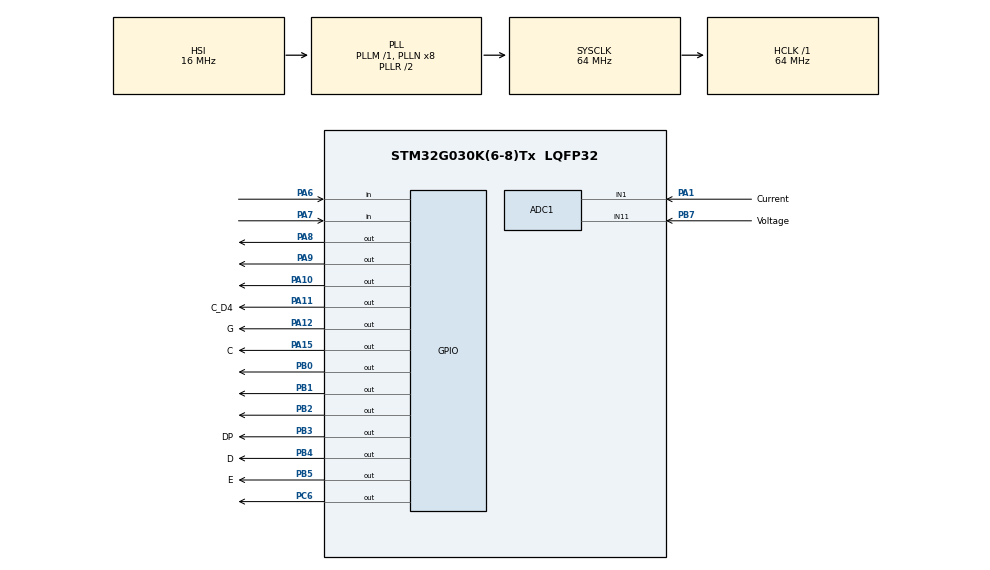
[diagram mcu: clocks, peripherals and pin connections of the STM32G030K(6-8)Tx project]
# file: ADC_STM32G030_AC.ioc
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ADC1.Channel-0\#ChannelRegularConversion=ADC_CHANNEL_11
ADC1.Channel-4\#ChannelRegularConversion=ADC_CHANNEL_1
ADC1.Channel-5\#ChannelRegularConversion=ADC_CHANNEL_VREFINT
ADC1.ClockPrescaler=ADC_CLOCK_ASYNC_DIV1
ADC1.ContinuousConvMode=DISABLE
ADC1.DMAContinuousRequests=ENABLE
ADC1.DiscontinuousConvMode=DISABLE
ADC1.EOCSelection=ADC_EOC_SINGLE_CONV
ADC1.EnableAnalogWatchDog1=false
ADC1.EnableAnalogWatchDog2=false
ADC1.EnableAnalogWatchDog3=false
ADC1.ExternalTrigConv=ADC_EXTERNALTRIG_T1_TRGO2
ADC1.NbrOfConversion=3
ADC1.NbrOfConversionFlag=1
ADC1.Overrun=ADC_OVR_DATA_OVERWRITTEN
ADC1.OversamplingMode=DISABLE
ADC1.Rank-0\#ChannelRegularConversion=1
ADC1.Rank-4\#ChannelRegularConversion=2
ADC1.Rank-5\#ChannelRegularConversion=3
ADC1.SamplingTime-0\#ChannelRegularConversion=ADC_SAMPLINGTIME_COMMON_1
ADC1.SamplingTime-4\#ChannelRegularConversion=ADC_SAMPLINGTIME_COMMON_1
ADC1.SamplingTime-5\#ChannelRegularConversion=ADC_SAMPLINGTIME_COMMON_1
ADC1.SamplingTimeCommon1=ADC_SAMPLETIME_160CYCLES_5
ADC1.SamplingTimeCommon2=ADC_SAMPLETIME_160CYCLES_5
ADC1.SelectedChannel=ADC_CHANNEL_1|ADC_CHANNEL_VREFINT|ADC_CHANNEL_11
ADC1.master=1
Dma.ADC1.0.Direction=DMA_PERIPH_TO_MEMORY
Dma.ADC1.0.EventEnable=DISABLE
Dma.ADC1.0.Instance=DMA1_Channel1
Dma.ADC1.0.MemDataAlignment=DMA_MDATAALIGN_HALFWORD
Dma.ADC1.0.MemInc=DMA_MINC_ENABLE
Dma.ADC1.0.Mode=DMA_CIRCULAR
Dma.ADC1.0.PeriphDataAlignment=DMA_PDATAALIGN_HALFWORD
Dma.ADC1.0.PeriphInc=DMA_PINC_DISABLE
Dma.ADC1.0.Polarity=HAL_DMAMUX_REQ_GEN_RISING
Dma.ADC1.0.Priority=DMA_PRIORITY_VERY_HIGH
Dma.ADC1.0.RequestNumber=1
Dma.ADC1.0.SignalID=NONE
Dma.ADC1.0.SyncEnable=DISABLE
Dma.ADC1.0.SyncPolarity=HAL_DMAMUX_SYNC_NO_EVENT
Dma.ADC1.0.SyncRequestNumber=1
Dma.ADC1.0.SyncSignalID=NONE
Dma.Request0=ADC1
Mcu.Family=STM32G0
Mcu.Name=STM32G030K(6-8)Tx
Mcu.Package=LQFP32
NVIC.DMA1_Channel1_IRQn=true\:2\:0\:true\:false\:true\:false\:true\:true
NVIC.TIM14_IRQn=true\:3\:0\:false\:false\:true\:false\:true\:true
NVIC.TIM3_IRQn=true\:0\:0\:true\:false\:true\:true\:true\:true
NVIC.TimeBase=TIM14_IRQn
NVIC.TimeBaseIP=TIM14
PA1.GPIO_Label=Current
PA1.Mode=IN1
PA1.Signal=ADC1_IN1
PA10.Signal=GPIO_Output
PA11\ [PA9].GPIO_Label=C_D4
PA11\ [PA9].Signal=GPIO_Output
PA12\ [PA10].GPIO_Label=G
PA12\ [PA10].Signal=GPIO_Output
PA13.Mode=Serial_Wire
PA13.Signal=SYS_SWDIO
PA14-BOOT0.Mode=Serial_Wire
PA14-BOOT0.Signal=SYS_SWCLK
PA15.GPIO_Label=C
PA15.Signal=GPIO_Output
PA6.Signal=GPIO_Input
PA7.Signal=GPIO_Input
PA8.Signal=GPIO_Output
PA9.Signal=GPIO_Output
PB0.Signal=GPIO_Output
PB1.Signal=GPIO_Output
PB2.Signal=GPIO_Output
PB3.GPIO_Label=DP
PB3.Signal=GPIO_Output
PB4.GPIO_Label=D
PB4.Signal=GPIO_Output
PB5.GPIO_Label=E
PB5.Signal=GPIO_Output
PB7.GPIO_Label=Voltage
PB7.Mode=IN11
PB7.Signal=ADC1_IN11
PC6.Signal=GPIO_Output
ProjectManager.HeapSize=0x200
ProjectManager.StackSize=0x400
ProjectManager.TargetToolchain=STM32CubeIDE
RCC.ADCCLockSelection=RCC_ADCCLKSOURCE_PLLADC
RCC.ADCFreq_Value=32000000
RCC.AHBFreq_Value=64000000
RCC.APB1CLKDivider=RCC_HCLK_DIV4
RCC.CortexFreq_Value=64000000
RCC.EXTERNAL_CLOCK_VALUE=12288000
RCC.HCLKFreq_Value=64000000
RCC.HSE_VALUE=8000000
RCC.HSI_VALUE=16000000
RCC.LSE_VALUE=32768
RCC.PLLP=RCC_PLLP_DIV4
RCC.SYSCLKFreq_VALUE=64000000
RCC.SYSCLKSource=RCC_SYSCLKSOURCE_PLLCLK
RCC.VCOOutputFreq_Value=128000000
TIM1.Channel-PWM\ Generation1\ No\ Output=TIM_CHANNEL_1
TIM1.Period=1600
TIM1.Prescaler=0
TIM1.TIM_MasterOutputTrigger2=TIM_TRGO2_UPDATE
TIM3.Channel-Output\ Compare1\ No\ Output=TIM_CHANNEL_1
TIM3.Period=32768
TIM3.Prescaler=1
VP_ADC1_Vref_Input.Mode=IN-Vrefint
VP_SYS_VS_tim14.Mode=TIM14
VP_TIM1_VS_ClockSourceINT.Mode=Internal
VP_TIM1_VS_no_output1.Mode=PWM Generation1 No Output
VP_TIM3_VS_ClockSourceINT.Mode=Internal
VP_TIM3_VS_no_output1.Mode=Output Compare1 No Output
board=custom

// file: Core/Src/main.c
/* USER CODE BEGIN Header */
/**
 ******************************************************************************
 * @file           : main.c
 * @brief          : Main program body
 ******************************************************************************
 * @attention
 *
 * Copyright (c) 2025 STMicroelectronics.
 * All rights reserved.
 *
 * This software is licensed under terms that can be found in the LICENSE file
 * in the root directory of this software component.
 * If no LICENSE file comes with this software, it is provided AS-IS.
 *
 ******************************************************************************
 */
/* USER CODE END Header */
#include "main.h"

/* USER CODE BEGIN Includes */
#include "stdio.h"
#include "math.h"
#include "string.h"
#include "stdbool.h"

/* USER CODE END Includes */

ADC_HandleTypeDef hadc1;
DMA_HandleTypeDef hdma_adc1;

TIM_HandleTypeDef htim1;
TIM_HandleTypeDef htim3;

/* USER CODE BEGIN PV */

uint16_t digits[9];

#define ADC_HISTORY_LEN 512

#define BUTTON2_Pin GPIO_PIN_6
#define BUTTON2_GPIO_Port GPIOA

#define BUTTON1_Pin GPIO_PIN_7
#define BUTTON1_GPIO_Port GPIOA

#define SAMPLES_PER_CYCLE        512U
#define ADC_NUM_CHANNELS         3U
#define ADC_DMA_COUNT            (SAMPLES_PER_CYCLE * ADC_NUM_CHANNELS)   // 1024 halfwords

volatile uint8_t flag = 0;

static uint16_t adc_buffer[ADC_DMA_COUNT];
//static uint16_t adc_buffer[3];
volatile uint8_t buffer_ready = 0;

uint16_t adc_vrefint = 0;   // latest ADC result for VREFINT
uint16_t vdda_mV = 0;       // calculated VDDA (mV)

float voltage = 0.0f;
float current = 0.0f;

uint16_t v_buf[ADC_HISTORY_LEN];  // stores last 512 samples
uint16_t i_buf[ADC_HISTORY_LEN];
uint16_t buf_index = 0;                 // buffer index

float frequency = 0;
float Vrms_total = 0.0;
float Vrms_AC = 0.0f;
float Irms_total = 0.0;
float Irms_AC = 0.0f;
float Vavg = 0.0;
float Iavg = 0.0;

float rms_AC = 0.0f;
float rms_filtered = 0.0f;

uint32_t buttonPressStartTime = 0;
uint8_t waitingFor2Sec = 0;
uint8_t inPasswordMode = 0;

uint8_t correctPassword[4] = { 1, 0, 0, 0 };
uint8_t passwordEntered[4] = { 0 };
uint8_t settingDigits[4] = { 0 };
uint8_t mode = 0;
uint8_t entryComplete = 0;
uint8_t passwordMatched = 0;
uint32_t lastPress = 0, blinkTimer = 0;
uint8_t blinkState = 0;
uint8_t modeEntryActive = 0;

uint8_t programming = 0;

uint8_t readOnlyMode = 0;

uint8_t editMode = 0;                 // Are we editing digits?

uint8_t currentDigitIndex = 0;

uint8_t passwordDigits[4] = { 0, 0, 0, 0 };

// Menu states
uint8_t connState = 0; // 0: show "Conn", 1: show current type, 2: edit type (blink)
uint8_t connType = 0;    // 0: delt, 1: iph, 2: star

// Save state
uint8_t saveEdit = 0;   // 0: just showing SAVE, 1: in Y/N selection
uint8_t saveChoice = 0;   // 0: Y, 1: N

GPIO_PinState b1, b2;

uint8_t dp_index;

//static uint16_t adc_buffer[ADC_DMA_COUNT];

/* Debug (watch in Live Expressions if desired) */
volatile int dbg_nv = -1, dbg_ni = -1;
volatile float dbg_dt = 0.0f, dbg_phi = 0.0f;

static float Power_Factor = 0.0;

static float Vrms_filtered = 0;
static float Irms_filtered = 0;

float ct_pr_value = 1.0f;
float ct_se_value = 1.0f;

uint8_t ct_pr_digits[4] = { 1, 0, 0, 0 };  // 1.000
uint8_t ct_se_digits[4] = { 1, 0, 0, 0 };  // 1.000
uint8_t ct_pr_decimal_pos = 0;
uint8_t ct_se_decimal_pos = 0;

uint8_t ct_pr_editing_digit = 0;  // Which digit is being edited (0-3)
uint8_t ct_se_editing_digit = 0;  // Which digit is being edited (0-3);

uint8_t ct_pr_state = 0;

uint32_t ct_pr_blinkTimer = 0;
uint8_t ct_pr_blinkState = 0;

uint8_t ct_se_state = 0;
uint32_t ct_se_blinkTimer = 0;
uint8_t ct_se_blinkState = 0;

float PF_Phase_deg = 0.0f;                // optional displacement angle from PF

GPIO_PinState b1, b2;

HAL_StatusTypeDef status;

/* USER CODE END PV */

void SystemClock_Config(void);
static void MX_GPIO_Init(void);
static void MX_DMA_Init(void);
static void MX_ADC1_Init(void);
static void MX_TIM3_Init(void);
static void MX_TIM1_Init(void);
/* USER CODE BEGIN PFP */
static void process_block(uint16_t *blk, size_t count_halfwords);

/* USER CODE END PFP */

/* USER CODE BEGIN 0 */

// Called when the first half of the DMA buffer is filled
void HAL_ADC_ConvHalfCpltCallback(ADC_HandleTypeDef *hadc) {

}

// Called when the entire DMA buffer is filled
void HAL_ADC_ConvCpltCallback(ADC_HandleTypeDef *hadc) {
	process_block(&adc_buffer, ADC_DMA_COUNT);
	buffer_ready = 1;

}

//static void process_block(uint16_t *blk, size_t count_halfwords) {
//
//	adc_vrefint = AD_RES_BUFFER[2]; //fixed bandgap reference inside the chip
//
//	uint16_t vrefint_cal = *VREFINT_CAL_ADDR;
//
//	vdda_mV = (uint32_t) VREFINT_CAL_VREF * vrefint_cal / adc_vrefint;
//
//	for (size_t k = 0; k < count_halfwords; k += 3U) {
//		v_buf[buf_index] = (blk[k + 0] * vdda_mV) / 4095;
//		//i_buf[buf_index] = (blk[k + 1] * vdda_mV) / 4095;
//
//		buf_index++;
//		if (buf_index >= ADC_HISTORY_LEN) {
//			buf_index = 0;
//
//		}
//	}
//}

static void process_block(uint16_t *blk, size_t count_halfwords) {
	uint32_t vref_acc = 0;
	uint16_t vref_samples = 0;

	// stride of 3: [V, I, VREFINT]
	for (size_t k = 0; k < count_halfwords; k += 3U) {

		uint16_t raw_v = blk[k + 0];
		uint16_t raw_i = blk[k + 1];
		uint16_t raw_vref = blk[k + 2];

		// accumulate VREFINT samples for this block
		vref_acc += raw_vref;
		vref_samples++;

		// use *previous* vdda_mV to scale V and I into mV for RMS math
		v_buf[buf_index] = (raw_v * vdda_mV) / 4095U;
		i_buf[buf_index] = (raw_i * vdda_mV) / 4095U;

		buf_index++;
		if (buf_index >= ADC_HISTORY_LEN) {
			buf_index = 0;
		}
	}

	// update VDDA estimate from average VREFINT of this block
	if (vref_samples > 0) {
		uint16_t vref_raw = (uint16_t) (vref_acc / vref_samples);
		uint16_t vref_cal = *VREFINT_CAL_ADDR;

		// VDDA = VREFINT_CAL_VREF * VREFINT_CAL / vref_raw
		vdda_mV = (uint32_t) VREFINT_CAL_VREF * (uint32_t) vref_cal
				/ (uint32_t) vref_raw;
	}

	// signal to main() that a fresh block is ready for RMS

}

static float CT_Pr_DigitsToValue(void) {
	uint16_t raw = (uint16_t) (ct_pr_digits[0] * 1000U + ct_pr_digits[1] * 100U
			+ ct_pr_digits[2] * 10U + ct_pr_digits[3]);

	// decimal after digit index i => divide by 10^(3 - i)
	uint8_t i = ct_pr_decimal_pos;
	if (i > 3)
		i = 3;

	uint8_t pow10 = 3 - i;
	float scale = 1.0f;
	while (pow10--) {
		scale *= 10.0f;
	}

	return (float) raw / scale;
}

static float CT_Se_DigitsToValue(void) {
	uint16_t raw = (uint16_t) (ct_se_digits[0] * 1000U + ct_se_digits[1] * 100U
			+ ct_se_digits[2] * 10U + ct_se_digits[3]);

	// decimal after digit index i => divide by 10^(3 - i)
	uint8_t i = ct_se_decimal_pos;
	if (i > 3)
		i = 3;

	uint8_t pow10 = 3 - i;
	float scale = 1.0f;
	while (pow10--) {
		scale *= 10.0f;
	}

	return (float) raw / scale;
}

float digits_to_float(const uint8_t *digits, uint8_t len, uint8_t decimal_pos) {
	uint32_t integer = 0;

	// 1) Build the integer value from the digit array
	for (uint8_t i = 0; i < len; i++) {
		integer = integer * 10u + (uint32_t) digits[i];
	}

	// 2) How many digits are after the decimal?
	if (decimal_pos >= len) {
		// Invalid position, treat as no decimal
		return (float) integer;
	}

	uint8_t frac_digits = (uint8_t) (len - decimal_pos - 1);

	// 3) Scale down by 10^(frac_digits)
	float value = (float) integer;
	while (frac_digits--) {
		value /= 10.0f;
	}

	return value;
}

//void Calculate_Vrms() {
//
//	float sum = 0.0f;
//	float sum_sq = 0.0f;
//
//	const float alpha_v = 0.1f;  // slower, steadier EMA
//	float threshold_v = 0.5f;
//
//	// Step 1: Compute mean (DC offset) in volts
//	for (int i = 0; i < ADC_HISTORY_LEN; i++) {
//
//		sum += v_buf[i];
//	}
//
//	Vavg = sum / ADC_HISTORY_LEN;     // DC offset (avg)
//
//	for (int i = 0; i < ADC_HISTORY_LEN; i++) {
//
//		sum_sq += (v_buf[i] - Vavg) * (v_buf[i] - Vavg); // accumulate squared values
//	}
//
//	float mean_sq = sum_sq / ADC_HISTORY_LEN; // <v^2>
//
//	// Step 2: Compute RMS values
//
//	Vrms_total = sqrtf(mean_sq);
//
//	const float K_VRMS = 0.2512f;
//	Vrms_total *= K_VRMS;
//
////		Vrms_total = Vrms_total * 1.03;
//
//	if (fabsf(Vrms_total - Vrms_AC) >= threshold_v) {
//		Vrms_AC = Vrms_total;
//	}
//
//	Vrms_filtered = (alpha_v * Vrms_AC) + ((1.0f - alpha_v) * Vrms_filtered);
//
//	static float ema_voltage = 0.0f;
//	const float EMA_ALPHA = 0.05f; // (0.01 = very stable, 0.2 = faster response) faster settling without looking jumpy
//
//	ema_voltage = ema_voltage + EMA_ALPHA * (Vrms_filtered - ema_voltage);
//
//	/* --- Stable display logic with hysteresis --- */
//	static float last_display_voltage = 0.0f;
//	const float DISPLAY_THRESHOLD = 0.1f;  // tighter update band (50 mV)
//	float display_voltage = 0;
//
//	int val_int;
//
//	if (fabsf(ema_voltage - last_display_voltage) >= DISPLAY_THRESHOLD) {
//		last_display_voltage = ema_voltage;
//	}
//
//	display_voltage = last_display_voltage;
//
//	// After computing display_voltage
//	if (fabsf(display_voltage) <= 0.3f)   // anything below 50 mV = 0.00
//		display_voltage = 0.0f;
//
//	/* ---------- clamp display_voltage (unchanged behavior) ---------- */
//	if (display_voltage > 200.0f)
//		display_voltage = 200.0f;
//	if (display_voltage < 0.0f)
//		display_voltage = 0.0f;
//
//	/* ---------- Clear digits & DPs ---------- */
//	for (int i = 0; i < 4; i++) {
//		digits[i] = 0;
//		digits[8 + i] = 0;
//	}
//
//	/* ---------- Extract digits + Set DP ---------- */
//	/* NOTE: Using display_voltage (ring-averaged) for all formatting */
//	if (display_voltage < 10.0f) {
//		// Format: X.XX (1 integer + 2 decimals). Keep last digit as the 3rd decimal if you want.
//		val_int = (int) (display_voltage * 100 + 0.5f); // e.g. 2.34 -> 234 (hundreds=tens etc.)
//
//		digits[0] = (val_int / 100) % 10;  // integer part
//		digits[1] = (val_int / 10) % 10;   // first decimal
//		digits[2] = val_int % 10;          // second decimal
//		digits[3] = 0;              // optional: fill with fake digit if desired
//
//		digits[4] = 1;  // DP after first digit (X.XX)
//		digits[5] = 0;
//		digits[6] = 0;
//	} else if (display_voltage < 100.0f) {
//		// Format: XX.XX (tens, ones, two decimals)
//		val_int = (int) (display_voltage * 100 + 0.5f);  // e.g. 23.45 -> 2345
//
//		digits[0] = (val_int / 1000) % 10; // tens
//		digits[1] = (val_int / 100) % 10;  // ones
//		digits[2] = (val_int / 10) % 10;   // first decimal
//		digits[3] = val_int % 10;         // second decimal
//
//		digits[5] = 1;  // DP after second digit (XX.XX)
//		digits[4] = 0;
//		digits[6] = 0;
//	} else {
//		// Format: XXX.X  (since you only have 4 digits, reduce decimals for 3-digit numbers)
//		val_int = (int) (display_voltage * 10 + 0.5f);  // e.g. 123.4 -> 1234
//
//		digits[0] = (val_int / 1000) % 10; // hundreds
//		digits[1] = (val_int / 100) % 10;  // tens
//		digits[2] = (val_int / 10) % 10;   // ones
//		digits[3] = val_int % 10;         // first decimal
//
//		digits[6] = 1;  // DP after third digit (XXX.X)
//		digits[4] = 0;
//		digits[5] = 0;
//	}
//
//}

//void Calculate_Irms() {
//
//	float sum = 0.0f;
//	float sum_sq = 0.0f;
//	const float alpha_i = 0.1f;  // slower, steadier EMA
//	float threshold_i = 0.5f;
//
//	// Step 1: Compute mean (DC offset) in volts
//	for (int i = 0; i < ADC_HISTORY_LEN; i++) {
//
//		sum += i_buf[i];
//	}
//
//	Iavg = sum / ADC_HISTORY_LEN;     // DC offset (avg)
//
//	for (int i = 0; i < ADC_HISTORY_LEN; i++) {
//
//		sum_sq += (i_buf[i] - Iavg) * (i_buf[i] - Iavg); // accumulate squared values
//	}
//
//	float mean_sq = sum_sq / ADC_HISTORY_LEN; // <v^2>
//
//	// Step 2: Compute RMS values
//
//	Irms_total = sqrtf(mean_sq);
//
//	const float K_IRMS = 4.56f;   // or 4.6f as a nice round value
//	Irms_total *= K_IRMS;
//
//	if (fabsf(Irms_total - Irms_AC) >= threshold_i) {
//		Irms_AC = Irms_total;
//	}
//
//	Irms_filtered = (alpha_i * Irms_AC) + ((1.0f - alpha_i) * Irms_filtered);
//
//	static float ema_current = 0.0f;
//	const float EMA_ALPHA = 0.05f; // (0.01 = very stable, 0.2 = faster response) faster settling without looking jumpy
//
//	ema_current = ema_current + EMA_ALPHA * (Irms_filtered - ema_current);
//
//	/* --- Stable display logic with hysteresis --- */
//	static float last_display_current = 0.0f;
//	const float DISPLAY_THRESHOLD = 0.1f;  // tighter update band (50 mV)
//	float display_current = 0;
//
//	int val_int;
//
//	if (fabsf(ema_current - last_display_current) >= DISPLAY_THRESHOLD) {
//		last_display_current = ema_current;
//	}
//
//	display_current = last_display_current;
//
//
//	if (fabsf(display_current) <= 0.3f)   // anything below 50 mV = 0.00
//		display_current = 0.0f;
//
//	/* ---------- clamp display_voltage (unchanged behavior) ---------- */
//	if (display_current > 200.0f)
//		display_current = 200.0f;
//	if (display_current < 0.0f)
//		display_current = 0.0f;
//
//	/* ---------- Clear digits & DPs ---------- */
//	for (int i = 0; i < 9; i++) {
//		digits[i] = 0;
//
//	}
//
//	/* ---------- Extract digits + Set DP ---------- */
//	/* NOTE: Using display_voltage (ring-averaged) for all formatting */
//	if (display_current < 10.0f) {
//		// Format: X.XX (1 integer + 2 decimals). Keep last digit as the 3rd decimal if you want.
//		val_int = (int) (display_current * 100 + 0.5f); // e.g. 2.34 -> 234 (hundreds=tens etc.)
//
//		digits[0] = (val_int / 100) % 10;  // integer part
//		digits[1] = (val_int / 10) % 10;   // first decimal
//		digits[2] = val_int % 10;          // second decimal
//		digits[3] = 0;              // optional: fill with fake digit if desired
//
//		digits[4] = 1;  // DP after first digit (X.XX)
//		digits[5] = 0;
//		digits[6] = 0;
//	} else if (display_current < 100.0f) {
//		// Format: XX.XX (tens, ones, two decimals)
//		val_int = (int) (display_current * 100 + 0.5f);  // e.g. 23.45 -> 2345
//
//		digits[0] = (val_int / 1000) % 10; // tens
//		digits[1] = (val_int / 100) % 10;  // ones
//		digits[2] = (val_int / 10) % 10;   // first decimal
//		digits[3] = val_int % 10;         // second decimal
//
//		digits[5] = 1;  // DP after second digit (XX.XX)
//		digits[4] = 0;
//		digits[6] = 0;
//	} else {
//		// Format: XXX.X  (since you only have 4 digits, reduce decimals for 3-digit numbers)
//		val_int = (int) (display_current * 10 + 0.5f);  // e.g. 123.4 -> 1234
//
//		digits[0] = (val_int / 1000) % 10; // hundreds
//		digits[1] = (val_int / 100) % 10;  // tens
//		digits[2] = (val_int / 10) % 10;   // ones
//		digits[3] = val_int % 10;         // first decimal
//
//		digits[6] = 1;  // DP after third digit (XXX.X)
//		digits[4] = 0;
//		digits[5] = 0;
//	}
//
//}

static void Calculate_Rms_Generic(const uint16_t *buf, float k_rms) {

//	float ct_pr_value = digits_to_float(ct_pr_digits, 4, ct_pr_decimal_pos);
//	float ct_se_value = digits_to_float(ct_se_digits, 4, ct_se_decimal_pos);

	float ct_pr_value = 5.0f;
	float ct_se_value = 100.0f;

	float sum = 0.0f;
	float sum_sq = 0.0f;

	// 1) Average (DC component)
	for (uint16_t i = 0; i < ADC_HISTORY_LEN; i++) {
		sum += buf[i];
	}

	// Store average in global (Vavg or Iavg)
	float avg;
	if (buf == v_buf) {
		avg = Vavg = sum / ADC_HISTORY_LEN;
	} else {
		avg = Iavg = sum / ADC_HISTORY_LEN;
	}

	// 2) Variance
	for (uint16_t i = 0; i < ADC_HISTORY_LEN; i++) {  // Fixed: was 'len'
		float diff = (float) buf[i] - avg;
		sum_sq += diff * diff;
	}

 	float mean_sq = sum_sq / ADC_HISTORY_LEN;

	// 3) RMS before scaling
	float rms_total = sqrtf(mean_sq) * k_rms;  // Fixed: was rms_raw

	// 4) Hysteresis + EMA (using your existing globals)
	const float threshold = 0.05f;
	if (buf == v_buf) {
		if (fabsf(rms_total - Vrms_AC) >= threshold) { // Fixed: rms_AC -> Vrms_AC
			Vrms_AC = rms_total;
		}
		const float alpha_v = 0.1f;
		Vrms_filtered = alpha_v * Vrms_AC + (1.0f - alpha_v) * Vrms_filtered; // Fixed: rms_*
		//Vrms_total = rms_total;  // Fixed: rms_raw -> rms_total
	} else {
		if (fabsf(rms_total - Irms_AC) >= threshold) { // Fixed: rms_raw -> rms_total
			Irms_AC = rms_total;
		}
		const float alpha_i = 0.1f;
		Irms_filtered = alpha_i * Irms_AC + (1.0f - alpha_i) * Irms_filtered; // Fixed: rms_*
		Irms_filtered = (Irms_filtered / 100)  ;

		// Irms_total = rms_total;
	}

	// 5) Display EMA + hysteresis (separate for V and I)
	static float ema_val[2] = { 0.0f, 0.0f };  // 0=voltage, 1=current
	static float last_display[2] = { 0.0f, 0.0f };
	const float EMA_ALPHA = 0.05f;
	const float DISPLAY_THRESHOLD = 0.05f;

	uint8_t is_voltage = (buf == v_buf);
	rms_filtered = is_voltage ? Vrms_filtered : Irms_filtered;

	ema_val[is_voltage] = ema_val[is_voltage]
			+ EMA_ALPHA * (rms_filtered - ema_val[is_voltage]);

	float display_val = ema_val[is_voltage];
	if (fabsf(display_val - last_display[is_voltage]) >= DISPLAY_THRESHOLD) {
		last_display[is_voltage] = display_val;

	}
	display_val = last_display[is_voltage];

	// 6) Clamp and zero small values
	if (fabsf(display_val) <= 0.0005f)
		display_val = 0.0f;
	if (display_val > 200.0f)
		display_val = 200.0f;
	if (display_val < 0.0f)
		display_val = 0.0f;

	// 7) Clear digits
	for (int i = 0; i < 9; i++) {
		digits[i] = 0;
	}

	// 8) Format digits (your exact logic)
	int val_int;
	if (display_val < 10.0f) {
		val_int = (int) (display_val * 100.0f + 0.5f);
		digits[0] = (val_int / 100) % 10;
		digits[1] = (val_int / 10) % 10;
		digits[2] = val_int % 10;
		digits[3] = 0;
		digits[4] = 1;
		digits[5] = 0;
		digits[6] = 0;
	} else if (display_val < 100.0f) {
		val_int = (int) (display_val * 100.0f + 0.5f);
		digits[0] = (val_int / 1000) % 10;
		digits[1] = (val_int / 100) % 10;
		digits[2] = (val_int / 10) % 10;
		digits[3] = val_int % 10;
		digits[5] = 1;
		digits[4] = 0;
		digits[6] = 0;
	} else {
		val_int = (int) (display_val * 10.0f + 0.5f);
		digits[0] = (val_int / 1000) % 10;
		digits[1] = (val_int / 100) % 10;
		digits[2] = (val_int / 10) % 10;
		digits[3] = val_int % 10;
		digits[6] = 1;
		digits[4] = 0;
		digits[5] = 0;
	}

	// 9) Set symbol
	digits[8] = is_voltage ? 40 : 42;  // V symbol or I symbol
}

/* USER CODE END 0 */

static void Compute_PF_FromBuffers(void) {
	const uint16_t N = ADC_HISTORY_LEN;      // your 512
	if (N == 0)
		return;

	/* --- 1) Guard: ignore if signal too small (prevents jitter/noise PF) --- */
	/* tune these to your scale (mV). Example: require ~10 V and ~0.5 V equiv. */
	const float V_MIN_RMS = 10.0f;
	const float I_MIN_RMS = 0.5f;
//	if (Vrms_total < V_MIN_RMS || Irms_total < I_MIN_RMS) {
//		return; // keep last Power_Factor
//	}

	/* --- 2) Covariance = mean( (v - Vavg)*(i - Iavg) ) --- */
	float acc = 0.0;
	for (uint16_t n = 0; n < N; n++) {
		float dv = (float) v_buf[n] - Vavg;   // your buffers are already in mV
		float di = (float) i_buf[n] - Iavg;
		acc += (float) dv * (float) di;
	}
	const float cov_vi = acc / (float) N;

	/* --- 3) Instantaneous PF (clamped) --- */
	const float denom = Vrms_total * Irms_total;
	if (denom <= 1e-6f)
		return;              // avoid div/0

	float pf_inst = (float) (cov_vi / (float) denom);
	if (!isfinite(pf_inst))
		return;
	if (pf_inst > 1.0f)
		pf_inst = 1.0f;
	if (pf_inst < -1.0f)
		pf_inst = -1.0f;

	/* --- 4) Stability stack: median-of-3 → EMA → deadband --- */
	/* These statics are function-local (not globals) */
	static float q[3] = { 1.0f, 1.0f, 1.0f };
	static uint8_t qi = 0, filled = 0;
	q[qi] = pf_inst;
	qi = (uint8_t) ((qi + 1U) % 3U);
	if (filled < 3U)
		filled++;

	/* median of 3 samples (excellent spike killer, ~0 latency) */
	float pf_med = pf_inst;
	if (filled == 3U) {
		float a = q[0], b = q[1], c = q[2];
		pf_med = ((a <= b && b <= c) || (c <= b && b <= a)) ? b :
					((b <= a && a <= c) || (c <= a && a <= b)) ? a : c;
	}

	/* EMA smoothing (low latency, tunable) */
	static float pf_ema = 1.0f;     // start sane
	const float alpha = 0.15f; // 0.10..0.25 typical; lower = smoother, higher = faster
	pf_ema = pf_ema + alpha * (pf_med - pf_ema);

	/* Deadband: ignore tiny changes (UI stability) */
	static float last_out = 1.0f;
	const float eps = 0.005f;      // 0.5% PF step
	float out = pf_ema;
	if (fabsf(out - last_out) < eps)
		out = last_out;

	/* Final clamp + publish */
	if (out > 1.0f)
		out = 1.0f;
	if (out < -1.0f)
		out = -1.0f;
	last_out = out;
	Power_Factor = out;

//	static float ema_current = 0.0f;
//	const float EMA_ALPHA = 0.05f; // (0.01 = very stable, 0.2 = faster response) faster settling without looking jumpy
//
//	Power_Factor = Power_Factor + EMA_ALPHA * (rms_filtered - ema_current);

	/* --- Stable display logic with hysteresis --- */
	static float last_display_current = 0.0f;
	const float DISPLAY_THRESHOLD = 0.05f;  // tighter update band (50 mV)
	float display_current = 0;

	int val_int;

	if (fabsf(Power_Factor - last_display_current) >= DISPLAY_THRESHOLD) {
		last_display_current = Power_Factor;
	}

	display_current = last_display_current;

	// After computing display_voltage
//	if (fabsf(display_current) <= 0.3f)   // anything below 50 mV = 0.00
//		display_current = 0.0f;

	/* ---------- clamp display_voltage (unchanged behavior) ---------- */

	/* ---------- Clear digits & DPs ---------- */
	for (int i = 0; i < 9; i++) {
		digits[i] = 0;

	}

	/* ---------- Extract digits + Set DP ---------- */
	/* NOTE: Using display_voltage (ring-averaged) for all formatting */
	if (display_current < 10.0f) {
		// Format: X.XX (1 integer + 2 decimals). Keep last digit as the 3rd decimal if you want.
		val_int = (int) (display_current * 100 + 0.5f); // e.g. 2.34 -> 234 (hundreds=tens etc.)

		digits[0] = (val_int / 100) % 10;  // integer part
		digits[1] = (val_int / 10) % 10;   // first decimal
		digits[2] = val_int % 10;          // second decimal
		digits[3] = 0;              // optional: fill with fake digit if desired

		digits[4] = 1;  // DP after first digit (X.XX)
		digits[5] = 0;
		digits[6] = 0;
	}
}

int main(void) {

	/* MCU Configuration--------------------------------------------------------*/

	/* Reset of all peripherals, Initializes the Flash interface and the Systick. */

	HAL_Init();

	/* Configure the system clock */
	SystemClock_Config();

	/* Initialize all configured peripherals */
	MX_GPIO_Init();
	MX_DMA_Init();
	MX_ADC1_Init();
	MX_TIM3_Init();
	MX_TIM1_Init();
	/* USER CODE BEGIN 2 */
	if (HAL_ADCEx_Calibration_Start(&hadc1) != HAL_OK) {
		Error_Handler();
	}

	HAL_TIM_OC_Start_IT(&htim3, TIM_CHANNEL_1);

	HAL_TIM_Base_Start(&htim1);

	status = HAL_ADC_Start_DMA(&hadc1, (uint32_t*) adc_buffer, ADC_DMA_COUNT);

	digits[0] = 0;
	digits[1] = 0;
	digits[2] = 0;
	digits[3] = 0;
	digits[4] = 1;
	digits[8] = 48;

	/* USER CODE END 2 */

	/* Infinite loop */
	while (1) {

		/* USER CODE BEGIN 3 */

		b1 = HAL_GPIO_ReadPin(BUTTON1_GPIO_Port, BUTTON1_Pin);
		b2 = HAL_GPIO_ReadPin(BUTTON2_GPIO_Port, BUTTON2_Pin);
// =============== Step 1: Long-press BOTH BUTTONS to enter password mode =============== //

		if (!inPasswordMode) {
			if (b1 == GPIO_PIN_RESET && b2 == GPIO_PIN_RESET) {

				if (waitingFor2Sec == 0) {
					buttonPressStartTime = HAL_GetTick();
					waitingFor2Sec = 1;
				} else if (HAL_GetTick() - buttonPressStartTime >= 2000) {

					inPasswordMode = 1;
					entryComplete = 0;
					waitingFor2Sec = 0;
					currentDigitIndex = 0;

					for (int i = 0; i < 4; i++) {

						digits[i] = 0;
						passwordEntered[i] = 0;
					}

				}
			} else {
				waitingFor2Sec = 0;

				if (b1 == GPIO_PIN_RESET) {
					while (1) {
						flag = 0;
						if (buffer_ready) {
//							Calculate_Rms_Generic(&v_buf, 0.2512f);
							Calculate_Rms_Generic(&v_buf, 0.2512f);
							buffer_ready = 0;
						}
						digits[8] = 40;
						b2 = HAL_GPIO_ReadPin(BUTTON2_GPIO_Port, BUTTON2_Pin);
						if (b2 == GPIO_PIN_RESET) {
							flag = 1;
							break;
						}
					}
				}
			}
			if (flag == 1) {

				while (1) {

					if (buffer_ready) {
						Calculate_Rms_Generic(&i_buf, 4.56f);
//						Calculate_Rms_Generic(&i_buf, 1.0f);
						buffer_ready = 0;
					}
					digits[8] = 41;
					b1 = HAL_GPIO_ReadPin(BUTTON1_GPIO_Port, BUTTON1_Pin);
//					HAL_Delay(100);
					if (b1 == GPIO_PIN_RESET) {
						flag = 2;
						break;
					}
				}

			}

			if (flag == 2) {
				while (1) {

					Compute_PF_FromBuffers();
					digits[8] = 42;
					b2 = HAL_GPIO_ReadPin(BUTTON2_GPIO_Port, BUTTON2_Pin);
					if (b2 == GPIO_PIN_RESET) {
						flag = 0;
						break;
					}
				}
			}

		}

// ============================== Step 2: Enter password mode ============================== //

		else if (!modeEntryActive) {

			// Blinking selected digit
			if (!entryComplete && HAL_GetTick() - blinkTimer >= 300) {
				digits[4] = 0;
				blinkTimer = HAL_GetTick();
				blinkState = !blinkState;
				digits[currentDigitIndex] =
						blinkState ? 37 : passwordEntered[currentDigitIndex]; // 37 = blank
			}

			if (!entryComplete && HAL_GetTick() - lastPress > 300) {

				if (b2 == GPIO_PIN_RESET) {
					passwordEntered[currentDigitIndex]++;
					if (passwordEntered[currentDigitIndex] > 9)
						passwordEntered[currentDigitIndex] = 0;
					digits[currentDigitIndex] =
							passwordEntered[currentDigitIndex];
					lastPress = HAL_GetTick();
				} else if (b1 == GPIO_PIN_RESET) {
					digits[currentDigitIndex] = 36;
					currentDigitIndex++;
					if (currentDigitIndex >= 4) {
						entryComplete = 1;

						// Compare password
						passwordMatched = 1;
						for (int i = 0; i < 4; i++) {
							if (passwordEntered[i] != correctPassword[i]) {
								passwordMatched = 0;
								break;
							}

							if (passwordEntered[i] == correctPassword[i]) {

								modeEntryActive = 1;
							}
						}

						digits[0] = 14; // E
						digits[1] = 23; // n
						digits[2] = 36; // -
						digits[3] = passwordMatched ? 34 : 23; // y : n

						while (1) {
							GPIO_PinState b2 = HAL_GPIO_ReadPin(
							BUTTON2_GPIO_Port, BUTTON2_Pin);
							if (b2 == GPIO_PIN_RESET) {
								programming = 1;
								break;
							}
						}

						if (!passwordMatched) {
							readOnlyMode = 1;
							mode = 0;
							currentDigitIndex = 0;
							blinkState = 0;
							blinkTimer = HAL_GetTick();

						}

						// if matched, go to config mode

						currentDigitIndex = 0;
						mode = 0;
						for (int i = 0; i < 4; i++)
							settingDigits[i] = 0;

					}
					lastPress = HAL_GetTick();

				}
			}
		}
// =============== Step 3: Simple configuration MENU after correct password ================== //
		else if (programming == 1) {
			// Common debounce
			uint32_t now = HAL_GetTick();

			// ------------------- 1) Display logic (what to show on digits) ------------------- //
			switch (mode) {

			// ---------- MODE 0: Conn menu ----------
			case 0:
				if (connState == 0) {
					// Show "Conn"
					digits[0] = 12; // C
					digits[1] = 24; // o
					digits[2] = 23; // n
					digits[3] = 23; // n

					// No decimals on label
					digits[4] = 0;
					digits[5] = 0;
					digits[6] = 0;
					digits[7] = 0;
				} else {
					if (connState == 2) {
						// Blink current type
						if (now - blinkTimer >= 300) {
							blinkTimer = now;
							blinkState = !blinkState;
						}

						if (blinkState) {
							digits[0] = 37;
							digits[1] = 37;
							digits[2] = 37;
							digits[3] = 37;
							digits[4] = 0;
							digits[5] = 0;
							digits[6] = 0;
							digits[7] = 0;
						} else {
							goto SHOW_CONN_TYPE;
						}
					} else {
						SHOW_CONN_TYPE: if (connType == 0) {
							// "delt"
							digits[0] = 13; // d
							digits[1] = 14; // e
							digits[2] = 21; // L
							digits[3] = 29; // t
						} else if (connType == 1) {
							// "iph"
							digits[0] = 18; // I
							digits[1] = 25; // P
							digits[2] = 17; // H
							digits[3] = 37; // blank
						} else {
							// "star"
							digits[0] = 28; // S
							digits[1] = 29; // T
							digits[2] = 10; // A
							digits[3] = 27; // R
						}
						// No decimals for text
						digits[4] = 0;
						digits[5] = 0;
						digits[6] = 0;
						digits[7] = 0;
					}
				}
				break;

				// ---------- MODE 1: ct.pr ----------
			case 1: {
				if (ct_pr_state == 0) {
					// Label: "ct.pr"
					digits[0] = 12; // C
					digits[1] = 29; // T
					digits[2] = 25; // P
					digits[3] = 27; // R

					// No decimal dots on label
					digits[4] = 0;
					digits[5] = 1;
					digits[6] = 0;
					digits[7] = 0;
				} else {
					// Numeric display using ct_pr_digits + decimal position
					digits[0] = ct_pr_digits[0];
					digits[1] = ct_pr_digits[1];
					digits[2] = ct_pr_digits[2];
					digits[3] = ct_pr_digits[3];

					// Clear all decimal flags first
//		                        digits[4] = 0;
//		                    	digits[5] = 0;
//		                    	digits[6] = 0;
//		                    	digits[7] = 0;

					dp_index = ct_pr_decimal_pos;
					if (dp_index > 3)
						dp_index = 3;

					if (ct_pr_state == 1) {

						// View only, steady decimal
						digits[4 + dp_index] = 1;
					} else if (ct_pr_state == 2) {
						// Edit digits with blink on selected digit
						if (now - ct_pr_blinkTimer >= 300) {
							ct_pr_blinkTimer = now;
							ct_pr_blinkState = !ct_pr_blinkState;
						}

						// Decimal ON steadily while editing digits
						digits[4 + dp_index] = 1;

						if (ct_pr_blinkState) {
							// Make current digit blank while blinkState=1
							digits[ct_pr_editing_digit] = 37;
							HAL_Delay(100);
						}
					} else if (ct_pr_state == 3)

					{
						// Editing decimal position, blink the DP
						if (now - ct_pr_blinkTimer >= 400) {
							ct_pr_blinkTimer = now;
							ct_pr_blinkState = !ct_pr_blinkState;
						}

						if (ct_pr_blinkState) {
							digits[4 + dp_index] = 0;  // decimal OFF

						} else {
							digits[4 + dp_index] = 1;  // decimal ON
							HAL_Delay(100);
						}
					}
				}
			}
				break;

				// ---------- MODE 2: ct.se ----------
			case 2: {
				if (ct_se_state == 0) {
					// Label: "ct.se"
					digits[0] = 12;  // C
					digits[1] = 29;  // T
					digits[2] = 28;  // S
					digits[3] = 14;  // E

					// No decimal dots on label
					digits[4] = 0;
					digits[5] = 1;
					digits[6] = 0;
					digits[7] = 0;
				} else {
					// Numeric display using ct_se_digits + decimal position
					digits[0] = ct_se_digits[0];
					digits[1] = ct_se_digits[1];
					digits[2] = ct_se_digits[2];
					digits[3] = ct_se_digits[3];

					// Clear decimals
//		                    digits[4] = 0;
//		                    digits[5] = 0;
//		                    digits[6] = 0;
//		                    digits[7] = 0;

					uint8_t dp_index = ct_se_decimal_pos;
					if (dp_index > 3)
						dp_index = 3;

					if (ct_se_state == 1) {
						// View only
						digits[4 + dp_index] = 1;
					} else if (ct_se_state == 2) {
						// Edit digits with blink
						if (now - ct_se_blinkTimer >= 400) {
							ct_se_blinkTimer = now;
							ct_se_blinkState = !ct_se_blinkState;
						}

						digits[4 + dp_index] = 1;  // decimal steady

						if (ct_se_blinkState) {
							digits[ct_se_editing_digit] = 37;
							HAL_Delay(100);
						}
					} else if (ct_se_state == 3) {
						// Edit decimal position, blink DP
						if (now - ct_se_blinkTimer >= 400) {
							ct_se_blinkTimer = now;
							ct_se_blinkState = !ct_se_blinkState;
						}

						if (ct_se_blinkState) {
							digits[4 + dp_index] = 0;
						} else {
							digits[4 + dp_index] = 1;
						}
					}
				}
			}
				break;

				// ---------- MODE 3: SAVE y/n ----------
			case 3:
				// "SAV"
				digits[0] = 28;  // S
				digits[1] = 10;  // A
				digits[2] = 30;  // V

				// No decimals
				digits[4] = 0;
				digits[5] = 0;
				digits[6] = 1;
				digits[7] = 0;

				if (now - blinkTimer >= 300) {
					blinkTimer = now;
					blinkState = !blinkState;
				}

				if (blinkState) {
					digits[3] = 37;  // blank
				} else {
					digits[3] = (saveChoice == 0) ? 34 : 23;   // Y / n

				}
				break;
			}

			// ------------------- 2) Button handling (B1 / B2) ------------------- //
			if (now - lastPress > 200)   // simple debounce
					{
				// BUTTON 1: "enter / edit / confirm"
				if (b1 == GPIO_PIN_RESET) {
					lastPress = now;

					// ----- MODE 0: Conn -----
					if (mode == 0) {
						if (connState == 0) {
							connState = 1;      // show current type
						} else if (connState == 1) {
							connState = 2;      // start editing (blink)
							blinkState = 0;
							blinkTimer = now;
						} else { // connState == 2
							connState = 0; // finish editing
						}
					}

					// ----- MODE 1: ct.pr -----
					else if (mode == 1) {
						if (ct_pr_state == 0) {
							// Label -> numeric view
							ct_pr_state = 1;
							digits[5] = 0;
						} else if (ct_pr_state == 1) {
							// View -> edit digit 0
							ct_pr_state = 2;
							ct_pr_editing_digit = 0;
							ct_pr_blinkState = 0;
							ct_pr_blinkTimer = now;
						} else if (ct_pr_state == 2) {
							// Next digit or decimal edit
							if (ct_pr_editing_digit < 3) {
								ct_pr_editing_digit++;
								ct_pr_blinkState = 0;
								ct_pr_blinkTimer = now;
							} else {
								ct_pr_state = 3;  // go to decimal edit
								ct_pr_blinkState = 0;

								ct_pr_blinkTimer = now;
							}
						} else if (ct_pr_state == 3) {
							// Finish edit, compute value, go back to label
							ct_pr_value = CT_Pr_DigitsToValue();
							ct_pr_state = 0;

						}
					}

					// ----- MODE 2: ct.se -----
					else if (mode == 2) {
						if (ct_se_state == 0) {
							// Label -> numeric view
							digits[5] = 0;
							ct_se_state = 1;
						} else if (ct_se_state == 1) {
							// View -> edit digit 0
							ct_se_state = 2;
							ct_se_editing_digit = 0;
							ct_se_blinkState = 0;
							ct_se_blinkTimer = now;
						} else if (ct_se_state == 2) {
							if (ct_se_editing_digit < 3) {
								ct_se_editing_digit++;
								ct_se_blinkState = 0;
								ct_se_blinkTimer = now;
							} else {
								ct_se_state = 3;  // decimal edit
								ct_se_blinkState = 0;
								ct_se_blinkTimer = now;
							}
						} else if (ct_se_state == 3) {
							// Finish edit
							ct_se_value = CT_Se_DigitsToValue();
							ct_se_state = 0;
						}
					}

					// ----- MODE 3: SAVE -----
					else if (mode == 3) {
						if (saveChoice == 0) {
							// YES → exit programming
							programming = 0;
							inPasswordMode = 0;
							modeEntryActive = 0;
							connState = 0;
							mode = 0;
							// Clear main digits
							digits[0] = digits[1] = digits[2] = digits[3] = 0;
							digits[5] = digits[6] = digits[7] = 0;
							digits[4] = 1;
						} else {
							// NO → back to Conn
							mode = 0;
							connState = 0;
							digits[6] = 0;
						}
					}
				}

				// BUTTON 2: "next / increment / toggle"
				else if (b2 == GPIO_PIN_RESET) {
					lastPress = now;

					// ----- MODE 0: Conn -----
					if (mode == 0) {
						if (connState == 2) {
							connType = (connType + 1) % 3;
						} else if (connState == 0) {
							mode = 1;   // go to ct.pr
							ct_pr_state = 0;
						}
					}

					// ----- MODE 1: ct.pr -----
					else if (mode == 1) {
						if (ct_pr_state == 0) {
							// Label: B2 -> next menu (ct.se)
							mode = 2;
							ct_se_state = 0;
						} else if (ct_pr_state == 1) {
							// View only: B2 no-op (optional)
						} else if (ct_pr_state == 2) {
							// Increment current digit
							uint8_t *pd = &ct_pr_digits[ct_pr_editing_digit];
							(*pd)++;
							if (*pd > 9)
								*pd = 0;
						} else if (ct_pr_state == 3) {
							// Cycle decimal position 0..3
							digits[4] = 0;
							digits[5] = 0;
							digits[6] = 0;
							digits[7] = 0;
							ct_pr_decimal_pos++;
							if (ct_pr_decimal_pos > 3)
								ct_pr_decimal_pos = 0;
						}
					}

					// ----- MODE 2: ct.se -----
					else if (mode == 2) {
						if (ct_se_state == 0) {
							// Label: B2 -> SAVE menu
							mode = 3;
							saveChoice = 0;
							blinkState = 0;
							blinkTimer = now;
						} else if (ct_se_state == 1) {
							// View only: no-op
						} else if (ct_se_state == 2) {
							// Increment digit
							uint8_t *pd = &ct_se_digits[ct_se_editing_digit];
							(*pd)++;
							if (*pd > 9)
								*pd = 0;
						} else if (ct_se_state == 3) {
							// Cycle decimal position

							digits[4] = 0;
							digits[5] = 0;
							digits[6] = 0;
							digits[7] = 0;
							ct_se_decimal_pos++;
							if (ct_se_decimal_pos > 3)
								ct_se_decimal_pos = 0;
						}
					}

					// ----- MODE 3: SAVE -----
					else if (mode == 3) {
						// Toggle Y/N
						saveChoice ^= 1;
					}
				}
			}
		}

	}

	/* USER CODE END 3 */
}

void SystemClock_Config(void) {
	RCC_OscInitTypeDef RCC_OscInitStruct = { 0 };
	RCC_ClkInitTypeDef RCC_ClkInitStruct = { 0 };

	/** Configure the main internal regulator output voltage
	 */
	HAL_PWREx_ControlVoltageScaling(PWR_REGULATOR_VOLTAGE_SCALE1);

	/** Initializes the RCC Oscillators according to the specified parameters
	 * in the RCC_OscInitTypeDef structure.
	 */
	RCC_OscInitStruct.OscillatorType = RCC_OSCILLATORTYPE_HSI;
	RCC_OscInitStruct.HSIState = RCC_HSI_ON;
	RCC_OscInitStruct.HSIDiv = RCC_HSI_DIV1;
	RCC_OscInitStruct.HSICalibrationValue = RCC_HSICALIBRATION_DEFAULT;
	RCC_OscInitStruct.PLL.PLLState = RCC_PLL_ON;
	RCC_OscInitStruct.PLL.PLLSource = RCC_PLLSOURCE_HSI;
	RCC_OscInitStruct.PLL.PLLM = RCC_PLLM_DIV1;
	RCC_OscInitStruct.PLL.PLLN = 8;
	RCC_OscInitStruct.PLL.PLLP = RCC_PLLP_DIV4;
	RCC_OscInitStruct.PLL.PLLR = RCC_PLLR_DIV2;
	if (HAL_RCC_OscConfig(&RCC_OscInitStruct) != HAL_OK) {
		Error_Handler();
	}

	/** Initializes the CPU, AHB and APB buses clocks
	 */
	RCC_ClkInitStruct.ClockType = RCC_CLOCKTYPE_HCLK | RCC_CLOCKTYPE_SYSCLK
			| RCC_CLOCKTYPE_PCLK1;
	RCC_ClkInitStruct.SYSCLKSource = RCC_SYSCLKSOURCE_PLLCLK;
	RCC_ClkInitStruct.AHBCLKDivider = RCC_SYSCLK_DIV1;
	RCC_ClkInitStruct.APB1CLKDivider = RCC_HCLK_DIV4;

	if (HAL_RCC_ClockConfig(&RCC_ClkInitStruct, FLASH_LATENCY_2) != HAL_OK) {
		Error_Handler();
	}
}

static void MX_ADC1_Init(void) {

	ADC_ChannelConfTypeDef sConfig = { 0 };

	/** Configure the global features of the ADC (Clock, Resolution, Data Alignment and number of conversion)
	 */
	hadc1.Instance = ADC1;
	hadc1.Init.ClockPrescaler = ADC_CLOCK_ASYNC_DIV1;
	hadc1.Init.Resolution = ADC_RESOLUTION_12B;
	hadc1.Init.DataAlign = ADC_DATAALIGN_RIGHT;
	hadc1.Init.ScanConvMode = ADC_SCAN_ENABLE;
	hadc1.Init.EOCSelection = ADC_EOC_SINGLE_CONV;
	hadc1.Init.LowPowerAutoWait = DISABLE;
	hadc1.Init.LowPowerAutoPowerOff = DISABLE;
	hadc1.Init.ContinuousConvMode = DISABLE;
	hadc1.Init.NbrOfConversion = 3;
	hadc1.Init.DiscontinuousConvMode = DISABLE;
	hadc1.Init.ExternalTrigConv = ADC_EXTERNALTRIG_T1_TRGO2;
	hadc1.Init.ExternalTrigConvEdge = ADC_EXTERNALTRIGCONVEDGE_RISING;
	hadc1.Init.DMAContinuousRequests = ENABLE;
	hadc1.Init.Overrun = ADC_OVR_DATA_OVERWRITTEN;
	hadc1.Init.SamplingTimeCommon1 = ADC_SAMPLETIME_160CYCLES_5;
	hadc1.Init.SamplingTimeCommon2 = ADC_SAMPLETIME_160CYCLES_5;
	hadc1.Init.OversamplingMode = DISABLE;
	hadc1.Init.TriggerFrequencyMode = ADC_TRIGGER_FREQ_HIGH;
	if (HAL_ADC_Init(&hadc1) != HAL_OK) {
		Error_Handler();
	}

	/** Configure Regular Channel
	 */
	sConfig.Channel = ADC_CHANNEL_11;
	sConfig.Rank = ADC_REGULAR_RANK_1;
	sConfig.SamplingTime = ADC_SAMPLINGTIME_COMMON_1;
	if (HAL_ADC_ConfigChannel(&hadc1, &sConfig) != HAL_OK) {
		Error_Handler();
	}

	/** Configure Regular Channel
	 */
	sConfig.Channel = ADC_CHANNEL_1;
	sConfig.Rank = ADC_REGULAR_RANK_2;
	if (HAL_ADC_ConfigChannel(&hadc1, &sConfig) != HAL_OK) {
		Error_Handler();
	}

	/** Configure Regular Channel
	 */
	sConfig.Channel = ADC_CHANNEL_VREFINT;
	sConfig.Rank = ADC_REGULAR_RANK_3;
	if (HAL_ADC_ConfigChannel(&hadc1, &sConfig) != HAL_OK) {
		Error_Handler();
	}

}

static void MX_TIM1_Init(void) {

	TIM_ClockConfigTypeDef sClockSourceConfig = { 0 };
	TIM_MasterConfigTypeDef sMasterConfig = { 0 };
	TIM_OC_InitTypeDef sConfigOC = { 0 };
	TIM_BreakDeadTimeConfigTypeDef sBreakDeadTimeConfig = { 0 };

	htim1.Instance = TIM1;
	htim1.Init.Prescaler = 0;
	htim1.Init.CounterMode = TIM_COUNTERMODE_UP;
	htim1.Init.Period = 1600;
	htim1.Init.ClockDivision = TIM_CLOCKDIVISION_DIV1;
	htim1.Init.RepetitionCounter = 0;
	htim1.Init.AutoReloadPreload = TIM_AUTORELOAD_PRELOAD_DISABLE;
	if (HAL_TIM_Base_Init(&htim1) != HAL_OK) {
		Error_Handler();
	}
	sClockSourceConfig.ClockSource = TIM_CLOCKSOURCE_INTERNAL;
	if (HAL_TIM_ConfigClockSource(&htim1, &sClockSourceConfig) != HAL_OK) {
		Error_Handler();
	}
	if (HAL_TIM_PWM_Init(&htim1) != HAL_OK) {
		Error_Handler();
	}
	sMasterConfig.MasterOutputTrigger = TIM_TRGO_RESET;
	sMasterConfig.MasterOutputTrigger2 = TIM_TRGO2_UPDATE;
	sMasterConfig.MasterSlaveMode = TIM_MASTERSLAVEMODE_DISABLE;
	if (HAL_TIMEx_MasterConfigSynchronization(&htim1, &sMasterConfig)
			!= HAL_OK) {
		Error_Handler();
	}
	sConfigOC.OCMode = TIM_OCMODE_PWM1;
	sConfigOC.Pulse = 0;
	sConfigOC.OCPolarity = TIM_OCPOLARITY_HIGH;
	sConfigOC.OCNPolarity = TIM_OCNPOLARITY_HIGH;
	sConfigOC.OCFastMode = TIM_OCFAST_DISABLE;
	sConfigOC.OCIdleState = TIM_OCIDLESTATE_RESET;
	sConfigOC.OCNIdleState = TIM_OCNIDLESTATE_RESET;
	if (HAL_TIM_PWM_ConfigChannel(&htim1, &sConfigOC, TIM_CHANNEL_1)
			!= HAL_OK) {
		Error_Handler();
	}
	sBreakDeadTimeConfig.OffStateRunMode = TIM_OSSR_DISABLE;
	sBreakDeadTimeConfig.OffStateIDLEMode = TIM_OSSI_DISABLE;
	sBreakDeadTimeConfig.LockLevel = TIM_LOCKLEVEL_OFF;
	sBreakDeadTimeConfig.DeadTime = 0;
	sBreakDeadTimeConfig.BreakState = TIM_BREAK_DISABLE;
	sBreakDeadTimeConfig.BreakPolarity = TIM_BREAKPOLARITY_HIGH;
	sBreakDeadTimeConfig.BreakFilter = 0;
	sBreakDeadTimeConfig.BreakAFMode = TIM_BREAK_AFMODE_INPUT;
	sBreakDeadTimeConfig.Break2State = TIM_BREAK2_DISABLE;
	sBreakDeadTimeConfig.Break2Polarity = TIM_BREAK2POLARITY_HIGH;
	sBreakDeadTimeConfig.Break2Filter = 0;
	sBreakDeadTimeConfig.Break2AFMode = TIM_BREAK_AFMODE_INPUT;
	sBreakDeadTimeConfig.AutomaticOutput = TIM_AUTOMATICOUTPUT_DISABLE;
	if (HAL_TIMEx_ConfigBreakDeadTime(&htim1, &sBreakDeadTimeConfig)
			!= HAL_OK) {
		Error_Handler();
	}

}

static void MX_TIM3_Init(void) {

	TIM_ClockConfigTypeDef sClockSourceConfig = { 0 };
	TIM_MasterConfigTypeDef sMasterConfig = { 0 };
	TIM_OC_InitTypeDef sConfigOC = { 0 };

	htim3.Instance = TIM3;
	htim3.Init.Prescaler = 1;
	htim3.Init.CounterMode = TIM_COUNTERMODE_UP;
	htim3.Init.Period = 32768;
	htim3.Init.ClockDivision = TIM_CLOCKDIVISION_DIV1;
	htim3.Init.AutoReloadPreload = TIM_AUTORELOAD_PRELOAD_DISABLE;
	if (HAL_TIM_Base_Init(&htim3) != HAL_OK) {
		Error_Handler();
	}
	sClockSourceConfig.ClockSource = TIM_CLOCKSOURCE_INTERNAL;
	if (HAL_TIM_ConfigClockSource(&htim3, &sClockSourceConfig) != HAL_OK) {
		Error_Handler();
	}
	if (HAL_TIM_OC_Init(&htim3) != HAL_OK) {
		Error_Handler();
	}
	sMasterConfig.MasterOutputTrigger = TIM_TRGO_RESET;
	sMasterConfig.MasterSlaveMode = TIM_MASTERSLAVEMODE_DISABLE;
	if (HAL_TIMEx_MasterConfigSynchronization(&htim3, &sMasterConfig)
			!= HAL_OK) {
		Error_Handler();
	}
	sConfigOC.OCMode = TIM_OCMODE_TIMING;
	sConfigOC.Pulse = 0;
	sConfigOC.OCPolarity = TIM_OCPOLARITY_HIGH;
	sConfigOC.OCFastMode = TIM_OCFAST_DISABLE;
	if (HAL_TIM_OC_ConfigChannel(&htim3, &sConfigOC, TIM_CHANNEL_1) != HAL_OK) {
		Error_Handler();
	}

}

static void MX_DMA_Init(void) {

	/* DMA controller clock enable */
	__HAL_RCC_DMA1_CLK_ENABLE();

	/* DMA interrupt init */
	/* DMA1_Channel1_IRQn interrupt configuration */
	HAL_NVIC_SetPriority(DMA1_Channel1_IRQn, 2, 0);
	HAL_NVIC_EnableIRQ(DMA1_Channel1_IRQn);

}

static void MX_GPIO_Init(void) {
	GPIO_InitTypeDef GPIO_InitStruct = { 0 };

	/* GPIO Ports Clock Enable */
	__HAL_RCC_GPIOA_CLK_ENABLE();
	__HAL_RCC_GPIOB_CLK_ENABLE();
	__HAL_RCC_GPIOC_CLK_ENABLE();

	/*Configure GPIO pin Output Level */
	HAL_GPIO_WritePin(GPIOB,
	GPIO_PIN_0 | GPIO_PIN_1 | GPIO_PIN_2 | DP_Pin | D_Pin | E_Pin,
			GPIO_PIN_RESET);

	/*Configure GPIO pin Output Level */
	HAL_GPIO_WritePin(GPIOA,
	GPIO_PIN_8 | GPIO_PIN_9 | GPIO_PIN_10 | C_D4_Pin | G_Pin | C_Pin,
			GPIO_PIN_RESET);

	/*Configure GPIO pin Output Level */
	HAL_GPIO_WritePin(GPIOC, GPIO_PIN_6, GPIO_PIN_RESET);

	/*Configure GPIO pins : PA6 PA7 */
	GPIO_InitStruct.Pin = GPIO_PIN_6 | GPIO_PIN_7;
	GPIO_InitStruct.Mode = GPIO_MODE_INPUT;
	GPIO_InitStruct.Pull = GPIO_NOPULL;
	HAL_GPIO_Init(GPIOA, &GPIO_InitStruct);

	/*Configure GPIO pins : PB0 PB1 PB2 DP_Pin
	 D_Pin E_Pin */
	GPIO_InitStruct.Pin = GPIO_PIN_0 | GPIO_PIN_1 | GPIO_PIN_2 | DP_Pin | D_Pin
			| E_Pin;
	GPIO_InitStruct.Mode = GPIO_MODE_OUTPUT_PP;
	GPIO_InitStruct.Pull = GPIO_NOPULL;
	GPIO_InitStruct.Speed = GPIO_SPEED_FREQ_LOW;
	HAL_GPIO_Init(GPIOB, &GPIO_InitStruct);

	/*Configure GPIO pins : PA8 PA9 PA10 C_D4_Pin
	 G_Pin C_Pin */
	GPIO_InitStruct.Pin = GPIO_PIN_8 | GPIO_PIN_9 | GPIO_PIN_10 | C_D4_Pin
			| G_Pin | C_Pin;
	GPIO_InitStruct.Mode = GPIO_MODE_OUTPUT_PP;
	GPIO_InitStruct.Pull = GPIO_NOPULL;
	GPIO_InitStruct.Speed = GPIO_SPEED_FREQ_LOW;
	HAL_GPIO_Init(GPIOA, &GPIO_InitStruct);

	/*Configure GPIO pin : PC6 */
	GPIO_InitStruct.Pin = GPIO_PIN_6;
	GPIO_InitStruct.Mode = GPIO_MODE_OUTPUT_PP;
	GPIO_InitStruct.Pull = GPIO_NOPULL;
	GPIO_InitStruct.Speed = GPIO_SPEED_FREQ_LOW;
	HAL_GPIO_Init(GPIOC, &GPIO_InitStruct);

}

void HAL_TIM_PeriodElapsedCallback(TIM_HandleTypeDef *htim) {
	if (htim->Instance == TIM14) {
		HAL_IncTick();
	}
}

void Error_Handler(void) {
	__disable_irq();
	while (1) {
	}
}
